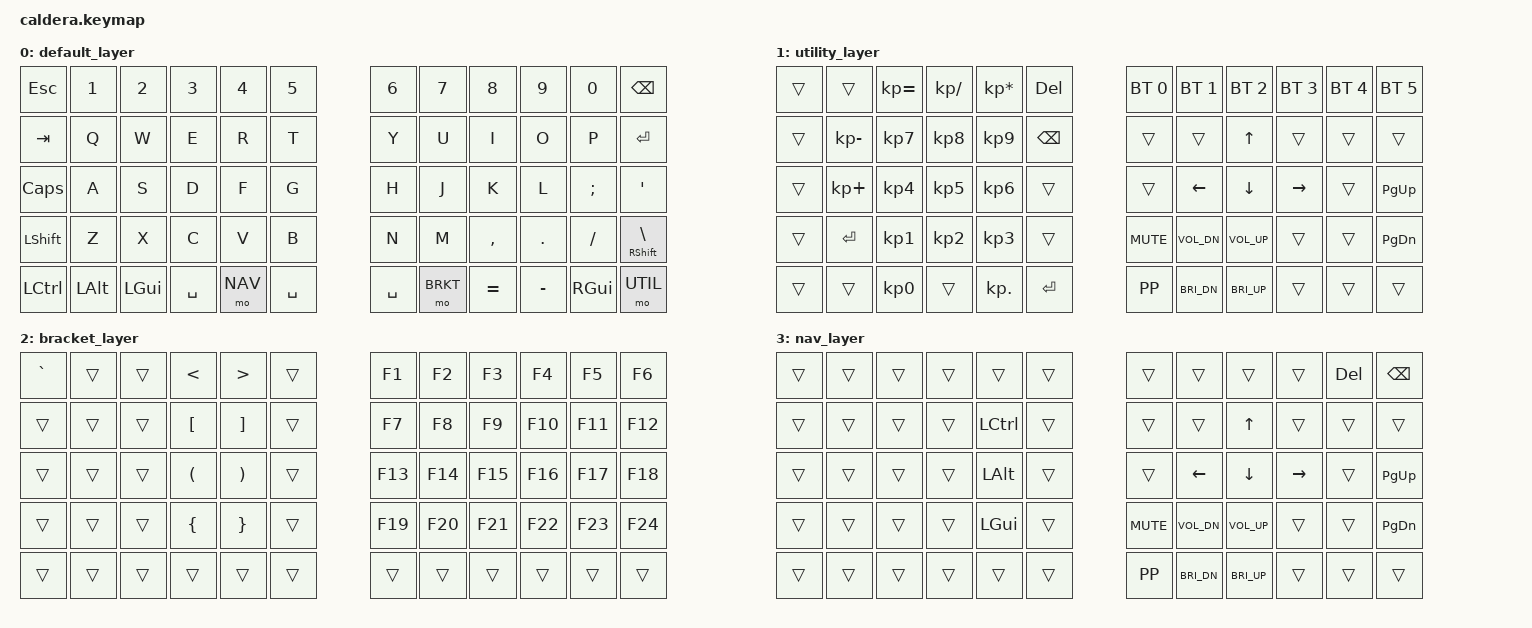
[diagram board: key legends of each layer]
#include <behaviors.dtsi>
#include <dt-bindings/zmk/keys.h>
#include <dt-bindings/zmk/bt.h>

#define BASE 0
#define UTIL 1
#define BRKT 2
#define NAV 3

/ {
        keymap {
                compatible = "zmk,keymap";

                default_layer {
// ---------------------------------------------------------------------------------
// | ESC  |  1  |  2  |  3  |  4  |  5  |     |  6  |  7  |  8  |  9  |  0  | BKSP |
// | TAB  |  Q  |  W  |  E  |  R  |  T  |     |  Y  |  U  |  I  |  O  |  P  |  '   |
// | CAPS |  A  |  S  |  D  |  F  |  G  |     |  H  |  J  |  K  |  L  |  ;  |  ENT |
// | SHFT |  Z  |  X  |  C  |  V  |  B  |     |  N  |  M  |  ,  |  .  |  /  |SHFT \|
// | CTRL | ALT | GUI | SPC | NAV | SPC |     | SPC |BRKT |  =  |  -  | GUI |T-UTIL|
                        bindings = <
   &kp ESC         &kp N1    &kp N2    &kp N3     &kp N4     &kp N5               &kp N6     &kp N7   &kp N8     &kp N9    &kp N0    &kp BSPC
   &kp TAB         &kp Q     &kp W     &kp E      &kp R      &kp T                &kp Y      &kp U    &kp I      &kp O     &kp P     &kp RET
   &kp CAPS       &kp A     &kp S     &kp D      &kp F      &kp G                &kp H      &kp J    &kp K      &kp L     &kp SEMI  &kp APOS
   &kp LSHFT       &kp Z     &kp X     &kp C      &kp V      &kp B                &kp N      &kp M    &kp COMMA  &kp DOT   &kp FSLH  &mt RSHFT BSLH
   &kp LCTRL       &kp LALT  &kp LGUI  &kp SPACE  &mo NAV    &kp SPACE            &kp SPACE  &mo BRKT &kp EQUAL  &kp MINUS &kp RGUI  &mo UTIL
                        >;
                };

                utility_layer {
// ------------------------------------------------------------------------------------------------------------
// |       |       |   =   |   /   |   *   | DEL   |          | BT 1  | BT 2  | BT 3  | BT 4  |       |       |
// |       |   -   |   7   |   8   |   9   | BSPC  |          |       |       |  up   |       |       |       |
// |       |   +   |   4   |   5   |   6   |       |          |       |  left | down  | right |       | pg up |
// |       |  ENT  |   1   |   2   |   3   |       |          | MUTE  |VOL DN |VOL UP |       |       | pg dn |
// |       |       |   0   |       |   .   |  ENT  |          | PLAY  |BRI DN |BRI UP |       |       |       |
                        bindings = <
   &trans    &trans         &kp KP_EQUAL &kp KP_DIVIDE   &kp KP_MULTIPLY  &kp DEL              &bt BT_SEL 0 &bt BT_SEL 1   &bt BT_SEL 2  &bt BT_SEL 3  &bt BT_SEL 4  &bt BT_SEL 5
   &trans    &kp KP_MINUS   &kp KP_N7    &kp KP_N8       &kp KP_N9        &kp BSPC             &trans       &trans         &kp UP        &trans        &trans        &trans
   &trans    &kp KP_PLUS    &kp KP_N4    &kp KP_N5       &kp KP_N6        &trans               &trans       &kp LEFT       &kp DOWN      &kp RIGHT     &trans        &kp PG_UP
   &trans    &kp RET        &kp KP_N1    &kp KP_N2       &kp KP_N3        &trans               &kp K_MUTE   &kp K_VOL_DN   &kp K_VOL_UP  &trans        &trans        &kp PG_DN
   &trans    &trans         &kp KP_N0    &trans          &kp KP_DOT       &kp RET              &kp K_PP     &kp C_BRI_DN   &kp C_BRI_UP  &trans        &trans        &trans
                        >;
                };

                bracket_layer {
// ------------------------------------------------------------------------------------------------------------
// |   `   |       |       |   <   |   >   |       |          |   F1   |   F2   |   F3   |   F4   |   F5   |   F6   |
// |       |       |       |   [   |   ]   |       |          |   F6   |   F7   |   F8   |   F8   |   F9   |   F10  |
// |       |       |       |   (   |   )   |       |          |   F11  |   F12  |   F13  |   F14  |   F15  |   F16  |
// |       |       |       |   {   |   }   |       |          |   F16  |   F17  |   F17  |   F18  |   F19  |   F20  |
// |       |       |       |       |       |       |          |        |        |        |        |        |        |
                        bindings = <
   &kp GRAVE &trans   &trans    &kp LT     &kp GT     &trans               &kp F1     &kp F2    &kp F3    &kp F4    &kp F5   &kp F6
   &trans    &trans   &trans    &kp LBKT   &kp RBKT   &trans               &kp F7     &kp F8    &kp F9    &kp F10   &kp F11  &kp F12
   &trans    &trans   &trans    &kp LPAR   &kp RPAR   &trans               &kp F13    &kp F14   &kp F15   &kp F16   &kp F17  &kp F18
   &trans    &trans   &trans    &kp LBRC   &kp RBRC   &trans               &kp F19    &kp F20   &kp F21   &kp F22   &kp F23  &kp F24
   &trans    &trans   &trans    &trans     &trans     &trans               &trans     &trans    &trans    &trans    &trans   &trans
                        >;
                };
                
                nav_layer {
// ------------------------------------------------------------------------------------------------------------
// |       |       |       |       |       |       |          |       |       |       |       | DEL   |  BSPC |
// |       |       |       |       |       |  CTRL |          |       |       |  up   |       |       |       |
// |       |       |       |       |       |  ALT  |          |       | left  | down  | right |       | pg up |
// |       |       |       |       |       |  GUI  |          | MUTE  |VOL DN |VOL UP |       |       | pg dn |
// |       |       |       |       |       |       |          | PLAY  |BRI DN |BRI UP |       |       |       |
                        bindings = <
   &trans    &trans   &trans    &trans     &trans     &trans               &trans      &trans        &trans       &trans     &kp DEL  &kp BSPC
   &trans    &trans   &trans    &trans     &kp LCTRL  &trans               &trans      &trans        &kp UP       &trans     &trans   &trans
   &trans    &trans   &trans    &trans     &kp LALT   &trans               &trans      &kp LEFT      &kp DOWN     &kp RIGHT  &trans   &kp PG_UP
   &trans    &trans   &trans    &trans     &kp LGUI   &trans               &kp K_MUTE  &kp K_VOL_DN  &kp K_VOL_UP &trans     &trans   &kp PG_DN
   &trans    &trans   &trans    &trans     &trans     &trans               &kp K_PP    &kp C_BRI_DN  &kp C_BRI_UP &trans     &trans   &trans
                        >;
                };
        };
};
